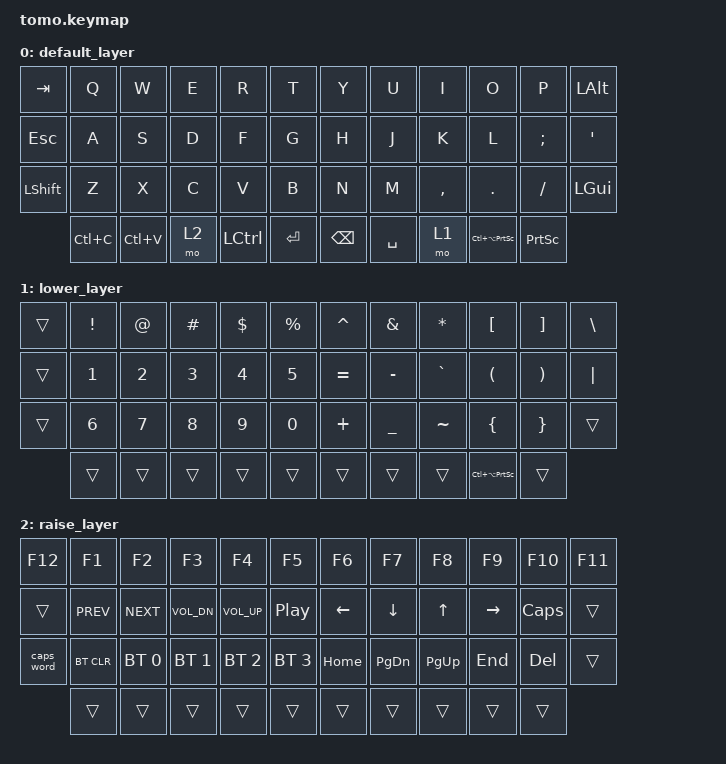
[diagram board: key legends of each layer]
#include <behaviors.dtsi>
#include <dt-bindings/zmk/bt.h>
#include <dt-bindings/zmk/keys.h>

//&soft_off {
//    hold-time-ms = <1000>; // units are in milliseconds
//};

/ {
    keymap {
        compatible = "zmk,keymap";

        default_layer {
            // -----------------------------------------------------------------------------------------
            // |  TAB |  Q  |  W  |  E  |  R  |  T  |   |  Y  |  U   |  I  |  O  |  P  | BKSP |
            // | CTRL |  A  |  S  |  D  |  F  |  G  |   |  H  |  J   |  K  |  L  |  ;  |  '   |
            // | SHFT |  Z  |  X  |  C  |  V  |  B  |   |  N  |  M   |  ,  |  .  |  /  | ESC  |
            //        |  *  |  *  | GUI | LWR | SPC |   | ENT | RSE  | ALT |  *  |  *  |  *   |

            bindings = <
&kp TAB    &kp Q      &kp W      &kp E  &kp R      &kp T      &kp Y     &kp U      &kp I      &kp O           &kp P          &kp LEFT_ALT
&kp ESC    &kp A      &kp S      &kp D  &kp F      &kp G      &kp H     &kp J      &kp K      &kp L           &kp SEMI       &kp SQT
&kp LSHFT  &kp Z      &kp X      &kp C  &kp V      &kp B      &kp N     &kp M      &kp COMMA  &kp DOT         &kp FSLH       &kp LGUI
           &kp LC(C)  &kp LC(V)  &mo 2  &kp LCTRL  &kp RET  &kp BSPC  &kp SPACE  &mo 1  &kp   LC(LA(PSCRN))     &kp PSCRN
            >;
        };

        lower_layer {
            // -----------------------------------------------------------------------------------------
            // |  TAB |  1  |  2  |  3  |  4  |  5  |   |  6  |  7  |  8  |  9  |  0  | BKSP |
            // | BTCLR| BT1 | BT2 | BT3 | BT4 | BT5 |   | LFT | DWN |  UP | RGT |     |      |
            // | SHFT |     |     |     |     |     |   |     |     |     |     |     |      |
            //                    | GUI |     | SPC |   | ENT |     | ALT |

            bindings = <
&trans  &kp EXCL      &kp AT_SIGN  &kp POUND  &kp DOLLAR  &kp PERCENT    &kp CARET  &kp AMPERSAND  &kp STAR   &kp LEFT_BRACKET         &kp RIGHT_BRACKET      &kp BSLH
&trans  &kp NUMBER_1  &kp N2       &kp N3     &kp N4      &kp N5         &kp EQUAL  &kp MINUS      &kp GRAVE  &kp LEFT_PARENTHESIS     &kp RIGHT_PARENTHESIS  &kp PIPE
&trans  &kp N6        &kp N7       &kp N8     &kp N9      &kp N0         &kp PLUS   &kp UNDER      &kp TILDE  &kp LEFT_BRACE           &kp RIGHT_BRACE        &trans
        &trans        &trans       &trans     &trans      &trans         &trans     &trans         &trans     &kp LC(LA(PRINTSCREEN))  &trans
            >;
        };

        raise_layer {
            bindings = <
&kp F12     &kp F1      &kp F2        &kp F3        &kp F4        &kp F5              &kp F6          &kp F7          &kp F8        &kp F9           &kp F10   &kp F11
&trans      &kp C_PREV  &kp C_NEXT    &kp C_VOL_DN  &kp C_VOL_UP  &kp C_PLAY_PAUSE    &kp LEFT_ARROW  &kp DOWN_ARROW  &kp UP_ARROW  &kp RIGHT_ARROW  &kp CAPS  &trans
&caps_word  &bt BT_CLR  &bt BT_SEL 0  &bt BT_SEL 1  &bt BT_SEL 2  &bt BT_SEL 3        &kp HOME        &kp PAGE_DOWN   &kp PAGE_UP   &kp END          &kp DEL   &trans
            &trans      &trans        &trans        &trans        &trans              &trans          &trans          &trans        &trans           &trans
            //&trans      &trans        &trans        &trans        &trans              &trans          &trans          &trans        &trans           &soft_off
            >;
        };
    };
};

